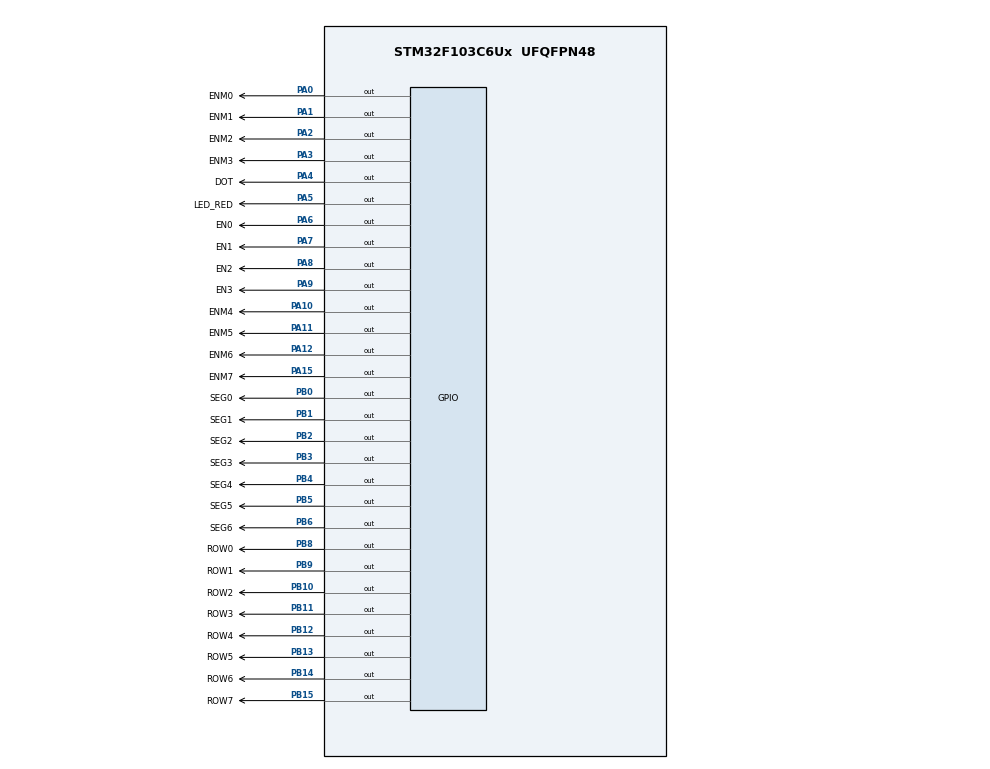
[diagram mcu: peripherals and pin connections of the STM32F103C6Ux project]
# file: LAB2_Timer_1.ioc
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Mcu.Family=STM32F1
Mcu.Name=STM32F103C6Ux
Mcu.Package=UFQFPN48
NVIC.PriorityGroup=NVIC_PRIORITYGROUP_4
NVIC.TIM2_IRQn=true\:0\:0\:false\:false\:true\:true\:true
PA0-WKUP.GPIO_Label=ENM0
PA0-WKUP.Signal=GPIO_Output
PA1.GPIO_Label=ENM1
PA1.Signal=GPIO_Output
PA10.GPIO_Label=ENM4
PA10.Signal=GPIO_Output
PA11.GPIO_Label=ENM5
PA11.Signal=GPIO_Output
PA12.GPIO_Label=ENM6
PA12.Signal=GPIO_Output
PA15.GPIO_Label=ENM7
PA15.Signal=GPIO_Output
PA2.GPIO_Label=ENM2
PA2.Signal=GPIO_Output
PA3.GPIO_Label=ENM3
PA3.Signal=GPIO_Output
PA4.GPIO_Label=DOT
PA4.Signal=GPIO_Output
PA5.GPIO_Label=LED_RED
PA5.Signal=GPIO_Output
PA6.GPIO_Label=EN0
PA6.Signal=GPIO_Output
PA7.GPIO_Label=EN1
PA7.Signal=GPIO_Output
PA8.GPIO_Label=EN2
PA8.Signal=GPIO_Output
PA9.GPIO_Label=EN3
PA9.Signal=GPIO_Output
PB0.GPIO_Label=SEG0
PB0.Signal=GPIO_Output
PB1.GPIO_Label=SEG1
PB1.Signal=GPIO_Output
PB10.GPIO_Label=ROW2
PB10.Signal=GPIO_Output
PB11.GPIO_Label=ROW3
PB11.Signal=GPIO_Output
PB12.GPIO_Label=ROW4
PB12.Signal=GPIO_Output
PB13.GPIO_Label=ROW5
PB13.Signal=GPIO_Output
PB14.GPIO_Label=ROW6
PB14.Signal=GPIO_Output
PB15.GPIO_Label=ROW7
PB15.Signal=GPIO_Output
PB2.GPIO_Label=SEG2
PB2.Signal=GPIO_Output
PB3.GPIO_Label=SEG3
PB3.Signal=GPIO_Output
PB4.GPIO_Label=SEG4
PB4.Signal=GPIO_Output
PB5.GPIO_Label=SEG5
PB5.Signal=GPIO_Output
PB6.GPIO_Label=SEG6
PB6.Signal=GPIO_Output
PB8.GPIO_Label=ROW0
PB8.Signal=GPIO_Output
PB9.GPIO_Label=ROW1
PB9.Signal=GPIO_Output
ProjectManager.HeapSize=0x200
ProjectManager.StackSize=0x400
ProjectManager.TargetToolchain=STM32CubeIDE
RCC.APB1Freq_Value=8000000
RCC.APB2Freq_Value=8000000
TIM2.Period=9
TIM2.Prescaler=7999
VP_SYS_VS_ND.Mode=No_Debug
VP_TIM2_VS_ClockSourceINT.Mode=Internal
board=custom

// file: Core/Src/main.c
/* USER CODE BEGIN Header */
/**
  ******************************************************************************
  * @file           : main.c
  * @brief          : Main program body
  ******************************************************************************
  * @attention
  *
  * <h2><center>&copy; Copyright (c) 2026 STMicroelectronics.
  * All rights reserved.</center></h2>
  *
  * This software component is licensed by ST under BSD 3-Clause license,
  * the "License"; You may not use this file except in compliance with the
  * License. You may obtain a copy of the License at:
  *                        opensource.org/licenses/BSD-3-Clause
  *
  ******************************************************************************
  */
/* USER CODE END Header */
#include "main.h"

TIM_HandleTypeDef htim2;

void SystemClock_Config(void);
static void MX_GPIO_Init(void);
static void MX_TIM2_Init(void);

/* USER CODE BEGIN 0 */

uint8_t segTable[10][7] = {
    // a  b  c  d  e  f  g
    {  0, 0, 0, 0, 0, 0, 1 },   // 0
    {  1, 0, 0, 1, 1, 1, 1 },   // 1
    {  0, 0, 1, 0, 0, 1, 0 },   // 2
    {  0, 0, 0, 0, 1, 1, 0 },   // 3
    {  1, 0, 0, 1, 1, 0, 0 },   // 4
    {  0, 1, 0, 0, 1, 0, 0 },   // 5
    {  0, 1, 0, 0, 0, 0, 0 },   // 6
    {  0, 0, 0, 1, 1, 1, 1 },   // 7
    {  0, 0, 0, 0, 0, 0, 0 },   // 8
    {  0, 0, 0, 0, 1, 0, 0 }    // 9
};

void display7SEG(int num) {
    HAL_GPIO_WritePin(SEG0_GPIO_Port, SEG0_Pin, segTable[num][0]);
    HAL_GPIO_WritePin(SEG1_GPIO_Port, SEG1_Pin, segTable[num][1]);
    HAL_GPIO_WritePin(SEG2_GPIO_Port, SEG2_Pin, segTable[num][2]);
    HAL_GPIO_WritePin(SEG3_GPIO_Port, SEG3_Pin, segTable[num][3]);
    HAL_GPIO_WritePin(SEG4_GPIO_Port, SEG4_Pin, segTable[num][4]);
    HAL_GPIO_WritePin(SEG5_GPIO_Port, SEG5_Pin, segTable[num][5]);
    HAL_GPIO_WritePin(SEG6_GPIO_Port, SEG6_Pin, segTable[num][6]);
}

void turnOffAll7SEG(void) {
    HAL_GPIO_WritePin(EN0_GPIO_Port, EN0_Pin | EN1_Pin | EN2_Pin | EN3_Pin, GPIO_PIN_SET);
}

void turnOn7SEG(int index) {
    switch (index) {
        case 0: HAL_GPIO_WritePin(EN0_GPIO_Port, EN0_Pin, GPIO_PIN_RESET); break;
        case 1: HAL_GPIO_WritePin(EN1_GPIO_Port, EN1_Pin, GPIO_PIN_RESET); break;
        case 2: HAL_GPIO_WritePin(EN2_GPIO_Port, EN2_Pin, GPIO_PIN_RESET); break;
        case 3: HAL_GPIO_WritePin(EN3_GPIO_Port, EN3_Pin, GPIO_PIN_RESET); break;
    }
}

void allOff(void) {
    turnOffAll7SEG();
    HAL_GPIO_WritePin(DOT_GPIO_Port, DOT_Pin, GPIO_PIN_SET);
    HAL_GPIO_WritePin(LED_RED_GPIO_Port, LED_RED_Pin, GPIO_PIN_SET);
}
/* USER CODE END 0 */

int main(void)
{

  /* MCU Configuration--------------------------------------------------------*/

  /* Reset of all peripherals, Initializes the Flash interface and the Systick. */
  HAL_Init();

  /* Configure the system clock */
  SystemClock_Config();

  /* Initialize all configured peripherals */
  MX_GPIO_Init();
  MX_TIM2_Init();
  /* USER CODE BEGIN 2 */
  allOff();
  HAL_TIM_Base_Start_IT(&htim2);   // bật ngắt 10ms
  /* USER CODE END 2 */

  /* Infinite loop */
  while (1)
  {

  }
}

void SystemClock_Config(void)
{
  RCC_OscInitTypeDef RCC_OscInitStruct = {0};
  RCC_ClkInitTypeDef RCC_ClkInitStruct = {0};

  /** Initializes the RCC Oscillators according to the specified parameters
  * in the RCC_OscInitTypeDef structure.
  */
  RCC_OscInitStruct.OscillatorType = RCC_OSCILLATORTYPE_HSI;
  RCC_OscInitStruct.HSIState = RCC_HSI_ON;
  RCC_OscInitStruct.HSICalibrationValue = RCC_HSICALIBRATION_DEFAULT;
  RCC_OscInitStruct.PLL.PLLState = RCC_PLL_NONE;
  if (HAL_RCC_OscConfig(&RCC_OscInitStruct) != HAL_OK)
  {
    Error_Handler();
  }
  /** Initializes the CPU, AHB and APB buses clocks
  */
  RCC_ClkInitStruct.ClockType = RCC_CLOCKTYPE_HCLK|RCC_CLOCKTYPE_SYSCLK
                              |RCC_CLOCKTYPE_PCLK1|RCC_CLOCKTYPE_PCLK2;
  RCC_ClkInitStruct.SYSCLKSource = RCC_SYSCLKSOURCE_HSI;
  RCC_ClkInitStruct.AHBCLKDivider = RCC_SYSCLK_DIV1;
  RCC_ClkInitStruct.APB1CLKDivider = RCC_HCLK_DIV1;
  RCC_ClkInitStruct.APB2CLKDivider = RCC_HCLK_DIV1;

  if (HAL_RCC_ClockConfig(&RCC_ClkInitStruct, FLASH_LATENCY_0) != HAL_OK)
  {
    Error_Handler();
  }
}

static void MX_TIM2_Init(void)
{

  TIM_ClockConfigTypeDef sClockSourceConfig = {0};
  TIM_MasterConfigTypeDef sMasterConfig = {0};

  htim2.Instance = TIM2;
  htim2.Init.Prescaler = 7999;
  htim2.Init.CounterMode = TIM_COUNTERMODE_UP;
  htim2.Init.Period = 9;
  htim2.Init.ClockDivision = TIM_CLOCKDIVISION_DIV1;
  htim2.Init.AutoReloadPreload = TIM_AUTORELOAD_PRELOAD_DISABLE;
  if (HAL_TIM_Base_Init(&htim2) != HAL_OK)
  {
    Error_Handler();
  }
  sClockSourceConfig.ClockSource = TIM_CLOCKSOURCE_INTERNAL;
  if (HAL_TIM_ConfigClockSource(&htim2, &sClockSourceConfig) != HAL_OK)
  {
    Error_Handler();
  }
  sMasterConfig.MasterOutputTrigger = TIM_TRGO_RESET;
  sMasterConfig.MasterSlaveMode = TIM_MASTERSLAVEMODE_DISABLE;
  if (HAL_TIMEx_MasterConfigSynchronization(&htim2, &sMasterConfig) != HAL_OK)
  {
    Error_Handler();
  }

}

static void MX_GPIO_Init(void)
{
  GPIO_InitTypeDef GPIO_InitStruct = {0};

  /* GPIO Ports Clock Enable */
  __HAL_RCC_GPIOA_CLK_ENABLE();
  __HAL_RCC_GPIOB_CLK_ENABLE();

  /*Configure GPIO pin Output Level */
  HAL_GPIO_WritePin(GPIOA, ENM0_Pin|ENM1_Pin|ENM2_Pin|ENM3_Pin
                          |DOT_Pin|LED_RED_Pin|EN0_Pin|EN1_Pin
                          |EN2_Pin|EN3_Pin|ENM4_Pin|ENM5_Pin
                          |ENM6_Pin|ENM7_Pin, GPIO_PIN_RESET);

  /*Configure GPIO pin Output Level */
  HAL_GPIO_WritePin(GPIOB, SEG0_Pin|SEG1_Pin|SEG2_Pin|ROW2_Pin
                          |ROW3_Pin|ROW4_Pin|ROW5_Pin|ROW6_Pin
                          |ROW7_Pin|SEG3_Pin|SEG4_Pin|SEG5_Pin
                          |SEG6_Pin|ROW0_Pin|ROW1_Pin, GPIO_PIN_RESET);

  /*Configure GPIO pins : ENM0_Pin ENM1_Pin ENM2_Pin ENM3_Pin
                           DOT_Pin LED_RED_Pin EN0_Pin EN1_Pin
                           EN2_Pin EN3_Pin ENM4_Pin ENM5_Pin
                           ENM6_Pin ENM7_Pin */
  GPIO_InitStruct.Pin = ENM0_Pin|ENM1_Pin|ENM2_Pin|ENM3_Pin
                          |DOT_Pin|LED_RED_Pin|EN0_Pin|EN1_Pin
                          |EN2_Pin|EN3_Pin|ENM4_Pin|ENM5_Pin
                          |ENM6_Pin|ENM7_Pin;
  GPIO_InitStruct.Mode = GPIO_MODE_OUTPUT_PP;
  GPIO_InitStruct.Pull = GPIO_NOPULL;
  GPIO_InitStruct.Speed = GPIO_SPEED_FREQ_LOW;
  HAL_GPIO_Init(GPIOA, &GPIO_InitStruct);

  /*Configure GPIO pins : SEG0_Pin SEG1_Pin SEG2_Pin ROW2_Pin
                           ROW3_Pin ROW4_Pin ROW5_Pin ROW6_Pin
                           ROW7_Pin SEG3_Pin SEG4_Pin SEG5_Pin
                           SEG6_Pin ROW0_Pin ROW1_Pin */
  GPIO_InitStruct.Pin = SEG0_Pin|SEG1_Pin|SEG2_Pin|ROW2_Pin
                          |ROW3_Pin|ROW4_Pin|ROW5_Pin|ROW6_Pin
                          |ROW7_Pin|SEG3_Pin|SEG4_Pin|SEG5_Pin
                          |SEG6_Pin|ROW0_Pin|ROW1_Pin;
  GPIO_InitStruct.Mode = GPIO_MODE_OUTPUT_PP;
  GPIO_InitStruct.Pull = GPIO_NOPULL;
  GPIO_InitStruct.Speed = GPIO_SPEED_FREQ_LOW;
  HAL_GPIO_Init(GPIOB, &GPIO_InitStruct);

}

/* USER CODE BEGIN 4 */
int segCounter = 50;
int currentSeg = 0;

void HAL_TIM_PeriodElapsedCallback(TIM_HandleTypeDef *htim) {
    if (htim->Instance != TIM2) return;

    segCounter--;
    if (segCounter <= 0) {
        segCounter = 50;
        turnOffAll7SEG();              // tắt con cũ trước
        if (currentSeg == 0) {
            display7SEG(1);            // số 1 lên con 1
            turnOn7SEG(0);
            currentSeg = 1;
        } else {
            display7SEG(2);            // số 2 lên con 2
            turnOn7SEG(1);
            currentSeg = 0;
        }
    }
}
/* USER CODE END 4 */

void Error_Handler(void)
{
  __disable_irq();
  while (1)
  {
  }
}

/************************ (C) COPYRIGHT STMicroelectronics *****END OF FILE****/
